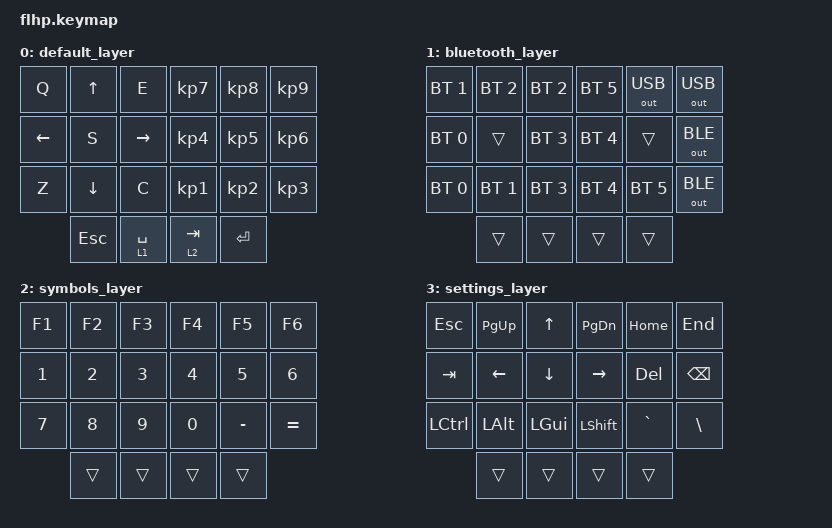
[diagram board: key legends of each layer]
#include <behaviors/mouse_keys.dtsi>
#include <behaviors.dtsi>
#include <dt-bindings/zmk/bt.h>
#include <dt-bindings/zmk/keys.h>
#include <dt-bindings/zmk/mouse.h>
#include <dt-bindings/zmk/outputs.h>

/ {

	keymap {
        compatible = "zmk,keymap";

        default_layer {
			bindings = <
		&kp Q     &kp UP    &kp E     &kp KP_N7 &kp KP_N8 &kp KP_N9
		&kp LEFT  &kp S     &kp RIGHT &kp KP_N4 &kp KP_N5 &kp KP_N6
		&kp Z     &kp DOWN  &kp C     &kp KP_N1 &kp KP_N2 &kp KP_N3
		          &kp ESC   &lt 1 SPC &lt 2 TAB &kp RET
			>;
		};

        bluetooth_layer {
			bindings = <
		&bt BT_SEL 1 &bt BT_SEL 2 &bt BT_SEL 2 &bt BT_SEL 5 &out OUT_USB &out OUT_USB
		&bt BT_SEL 0 &trans       &bt BT_SEL 3 &bt BT_SEL 4 &trans       &out OUT_BLE
		&bt BT_SEL 0 &bt BT_SEL 1 &bt BT_SEL 3 &bt BT_SEL 4 &bt BT_SEL 5 &out OUT_BLE
		             &trans       &trans       &trans       &trans
			>;
		};

        symbols_layer {
			bindings = <
		&kp F1    &kp F2    &kp F3    &kp F4    &kp F5    &kp F6
		&kp N1    &kp N2    &kp N3    &kp N4    &kp N5    &kp N6
		&kp N7    &kp N8    &kp N9    &kp N0    &kp MINUS &kp EQUAL
		          &trans    &trans    &trans    &trans
			>;
		};

        settings_layer {
			bindings = <
		&kp ESC   &kp PG_UP &kp UP    &kp PG_DN &kp HOME  &kp END
		&kp TAB   &kp LEFT  &kp DOWN  &kp RIGHT &kp DEL   &kp BKSP
		&kp LCTRL &kp LALT  &kp LGUI  &kp LSHFT &kp GRAVE &kp BSLH
		          &trans    &trans    &trans    &trans
			>;
		};
    };
};
